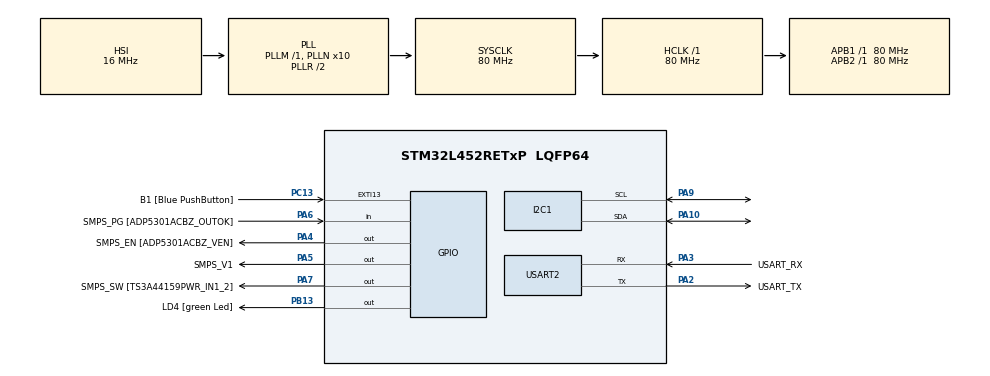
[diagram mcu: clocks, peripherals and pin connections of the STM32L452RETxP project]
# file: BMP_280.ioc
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I2C1.Timing=0x10909CEC
Mcu.Family=STM32L4
Mcu.Name=STM32L452RETxP
Mcu.Package=LQFP64
NVIC.PriorityGroup=NVIC_PRIORITYGROUP_4
PA10.Mode=I2C
PA10.Signal=I2C1_SDA
PA13\ (JTMS/SWDIO).GPIO_Label=TMS
PA13\ (JTMS/SWDIO).Mode=Serial_Wire
PA13\ (JTMS/SWDIO).Signal=SYS_JTMS-SWDIO
PA14\ (JTCK/SWCLK).GPIO_Label=TCK
PA14\ (JTCK/SWCLK).Mode=Serial_Wire
PA14\ (JTCK/SWCLK).Signal=SYS_JTCK-SWCLK
PA2.GPIO_Label=USART_TX
PA2.GPIO_Mode=GPIO_MODE_AF_PP
PA2.GPIO_PuPd=GPIO_NOPULL
PA2.GPIO_Speed=GPIO_SPEED_FREQ_VERY_HIGH
PA2.Mode=Asynchronous
PA2.Signal=USART2_TX
PA3.GPIO_Label=USART_RX
PA3.GPIO_Mode=GPIO_MODE_AF_PP
PA3.GPIO_PuPd=GPIO_NOPULL
PA3.GPIO_Speed=GPIO_SPEED_FREQ_VERY_HIGH
PA3.Mode=Asynchronous
PA3.Signal=USART2_RX
PA4.GPIO_Label=SMPS_EN [ADP5301ACBZ_VEN]
PA4.Signal=GPIO_Output
PA5.GPIO_Label=SMPS_V1
PA5.GPIO_ModeDefaultOutputPP=GPIO_MODE_OUTPUT_PP
PA5.GPIO_PuPd=GPIO_NOPULL
PA5.GPIO_Speed=GPIO_SPEED_FREQ_LOW
PA5.Signal=GPIO_Output
PA6.GPIO_Label=SMPS_PG [ADP5301ACBZ_OUTOK]
PA6.GPIO_PuPd=GPIO_PULLUP
PA6.Signal=GPIO_Input
PA7.GPIO_Label=SMPS_SW [TS3A44159PWR_IN1_2]
PA7.Signal=GPIO_Output
PA9.Mode=I2C
PA9.Signal=I2C1_SCL
PB13.GPIO_Label=LD4 [green Led]
PB13.Signal=GPIO_Output
PB3\ (JTDO/TRACESWO).GPIO_Label=SWO
PB3\ (JTDO/TRACESWO).Signal=SYS_JTDO-SWO
PC13.GPIO_Label=B1 [Blue PushButton]
PC13.GPIO_ModeDefaultEXTI=GPIO_MODE_IT_FALLING
PC13.GPIO_PuPd=GPIO_NOPULL
PC13.Signal=GPXTI13
PC14-OSC32_IN\ (PC14).Mode=LSE-External-Oscillator
PC14-OSC32_IN\ (PC14).Signal=RCC_OSC32_IN
PC15-OSC32_OUT\ (PC15).Mode=LSE-External-Oscillator
PC15-OSC32_OUT\ (PC15).Signal=RCC_OSC32_OUT
PH0-OSC_IN\ (PH0).GPIO_Label=MCO
PH0-OSC_IN\ (PH0).Mode=HSE-External-Clock-Source
PH0-OSC_IN\ (PH0).Signal=RCC_OSC_IN
PH1-OSC_OUT\ (PH1).Signal=RCC_OSC_OUT
ProjectManager.HeapSize=0x200
ProjectManager.StackSize=0x400
ProjectManager.TargetToolchain=STM32CubeIDE
RCC.ADCFreq_Value=64000000
RCC.AHBFreq_Value=80000000
RCC.APB1Freq_Value=80000000
RCC.APB1TimFreq_Value=80000000
RCC.APB2Freq_Value=80000000
RCC.APB2TimFreq_Value=80000000
RCC.CortexFreq_Value=80000000
RCC.HCLKFreq_Value=80000000
RCC.HSE_VALUE=8000000
RCC.HSI48_VALUE=48000000
RCC.HSI_VALUE=16000000
RCC.MSI_VALUE=4000000
RCC.PLLN=10
RCC.PLLSourceVirtual=RCC_PLLSOURCE_HSI
RCC.PREFETCH_ENABLE=1
RCC.SYSCLKFreq_VALUE=80000000
RCC.SYSCLKSource=RCC_SYSCLKSOURCE_PLLCLK
RCC.USBFreq_Value=64000000
RCC.VCOOutputFreq_Value=160000000
USART2.VirtualMode-Asynchronous=VM_ASYNC
board=NUCLEO-L452RE-P

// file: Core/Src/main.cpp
/* USER CODE BEGIN Header */
/**
 ******************************************************************************
 * @file           : main.c
 * @brief          : Main program body
 ******************************************************************************
 * @attention
 *
 * Copyright (c) 2023 STMicroelectronics.
 * All rights reserved.
 *
 * This software is licensed under terms that can be found in the LICENSE file
 * in the root directory of this software component.
 * If no LICENSE file comes with this software, it is provided AS-IS.
 *
 ******************************************************************************
 */
/* USER CODE END Header */
#include "main.h"

/* USER CODE BEGIN Includes */
#include "bmp280.h"
#include <stdio.h>
#include <string.h>
/* USER CODE END Includes */

I2C_HandleTypeDef hi2c1;

UART_HandleTypeDef huart2;

void SystemClock_Config(void);
static void MX_GPIO_Init(void);
static void MX_USART2_UART_Init(void);
static void MX_I2C1_Init(void);

int main(void) {

	/* MCU Configuration--------------------------------------------------------*/

	/* Reset of all peripherals, Initializes the Flash interface and the Systick. */
	HAL_Init();

	/* Configure the system clock */
	SystemClock_Config();

	/* Initialize all configured peripherals */
	MX_GPIO_Init();
	MX_USART2_UART_Init();
	MX_I2C1_Init();

	BMP_280 bmp(&hi2c1, (0x77 << 1));

	/* USER CODE BEGIN 2 */
	int aa = bmp.isInitialized;
	(void) aa;
	float temp;
	char terminal[200];
	float press;
	float alt;
//bmp.test_register();
	/* USER CODE END 2 */
	/* Infinite loop */
	while (1) {

		/* USER CODE BEGIN 3 */
		temp = bmp.getTemperature();
		press = bmp.readPressure();
		alt = bmp.readAltitude(1017);
		sprintf(terminal,"Temp=%.2f\nPress=%.2f\nAlt=%.2f\n",temp,press,alt);
		HAL_UART_Transmit(&huart2,(uint8_t*) terminal, strlen(terminal), 1000);
		HAL_Delay(1000);
	}
	/* USER CODE END 3 */
}

void SystemClock_Config(void) {
	RCC_OscInitTypeDef RCC_OscInitStruct = { 0 };
	RCC_ClkInitTypeDef RCC_ClkInitStruct = { 0 };

	/** Configure the main internal regulator output voltage
	 */
	if (HAL_PWREx_ControlVoltageScaling(PWR_REGULATOR_VOLTAGE_SCALE1)
			!= HAL_OK) {
		Error_Handler();
	}

	/** Initializes the RCC Oscillators according to the specified parameters
	 * in the RCC_OscInitTypeDef structure.
	 */
	RCC_OscInitStruct.OscillatorType = RCC_OSCILLATORTYPE_HSI;
	RCC_OscInitStruct.HSIState = RCC_HSI_ON;
	RCC_OscInitStruct.HSICalibrationValue = RCC_HSICALIBRATION_DEFAULT;
	RCC_OscInitStruct.PLL.PLLState = RCC_PLL_ON;
	RCC_OscInitStruct.PLL.PLLSource = RCC_PLLSOURCE_HSI;
	RCC_OscInitStruct.PLL.PLLM = 1;
	RCC_OscInitStruct.PLL.PLLN = 10;
	RCC_OscInitStruct.PLL.PLLP = RCC_PLLP_DIV7;
	RCC_OscInitStruct.PLL.PLLQ = RCC_PLLQ_DIV2;
	RCC_OscInitStruct.PLL.PLLR = RCC_PLLR_DIV2;
	if (HAL_RCC_OscConfig(&RCC_OscInitStruct) != HAL_OK) {
		Error_Handler();
	}

	/** Initializes the CPU, AHB and APB buses clocks
	 */
	RCC_ClkInitStruct.ClockType = RCC_CLOCKTYPE_HCLK | RCC_CLOCKTYPE_SYSCLK
			| RCC_CLOCKTYPE_PCLK1 | RCC_CLOCKTYPE_PCLK2;
	RCC_ClkInitStruct.SYSCLKSource = RCC_SYSCLKSOURCE_PLLCLK;
	RCC_ClkInitStruct.AHBCLKDivider = RCC_SYSCLK_DIV1;
	RCC_ClkInitStruct.APB1CLKDivider = RCC_HCLK_DIV1;
	RCC_ClkInitStruct.APB2CLKDivider = RCC_HCLK_DIV1;

	if (HAL_RCC_ClockConfig(&RCC_ClkInitStruct, FLASH_LATENCY_4) != HAL_OK) {
		Error_Handler();
	}
}

static void MX_I2C1_Init(void) {

	hi2c1.Instance = I2C1;
	hi2c1.Init.Timing = 0x10909CEC;
	hi2c1.Init.OwnAddress1 = 0;
	hi2c1.Init.AddressingMode = I2C_ADDRESSINGMODE_7BIT;
	hi2c1.Init.DualAddressMode = I2C_DUALADDRESS_DISABLE;
	hi2c1.Init.OwnAddress2 = 0;
	hi2c1.Init.OwnAddress2Masks = I2C_OA2_NOMASK;
	hi2c1.Init.GeneralCallMode = I2C_GENERALCALL_DISABLE;
	hi2c1.Init.NoStretchMode = I2C_NOSTRETCH_DISABLE;
	if (HAL_I2C_Init(&hi2c1) != HAL_OK) {
		Error_Handler();
	}

	/** Configure Analogue filter
	 */
	if (HAL_I2CEx_ConfigAnalogFilter(&hi2c1, I2C_ANALOGFILTER_ENABLE)
			!= HAL_OK) {
		Error_Handler();
	}

	/** Configure Digital filter
	 */
	if (HAL_I2CEx_ConfigDigitalFilter(&hi2c1, 0) != HAL_OK) {
		Error_Handler();
	}

}

static void MX_USART2_UART_Init(void) {

	huart2.Instance = USART2;
	huart2.Init.BaudRate = 115200;
	huart2.Init.WordLength = UART_WORDLENGTH_8B;
	huart2.Init.StopBits = UART_STOPBITS_1;
	huart2.Init.Parity = UART_PARITY_NONE;
	huart2.Init.Mode = UART_MODE_TX_RX;
	huart2.Init.HwFlowCtl = UART_HWCONTROL_NONE;
	huart2.Init.OverSampling = UART_OVERSAMPLING_16;
	huart2.Init.OneBitSampling = UART_ONE_BIT_SAMPLE_DISABLE;
	huart2.AdvancedInit.AdvFeatureInit = UART_ADVFEATURE_NO_INIT;
	if (HAL_UART_Init(&huart2) != HAL_OK) {
		Error_Handler();
	}

}

static void MX_GPIO_Init(void) {
	GPIO_InitTypeDef GPIO_InitStruct = { 0 };

	/* GPIO Ports Clock Enable */
	__HAL_RCC_GPIOC_CLK_ENABLE();
	__HAL_RCC_GPIOH_CLK_ENABLE();
	__HAL_RCC_GPIOA_CLK_ENABLE();
	__HAL_RCC_GPIOB_CLK_ENABLE();

	/*Configure GPIO pin Output Level */
	HAL_GPIO_WritePin(GPIOA, SMPS_EN_Pin | SMPS_V1_Pin | SMPS_SW_Pin,
			GPIO_PIN_RESET);

	/*Configure GPIO pin Output Level */
	HAL_GPIO_WritePin(LD4_GPIO_Port, LD4_Pin, GPIO_PIN_RESET);

	/*Configure GPIO pin : B1_Pin */
	GPIO_InitStruct.Pin = B1_Pin;
	GPIO_InitStruct.Mode = GPIO_MODE_IT_FALLING;
	GPIO_InitStruct.Pull = GPIO_NOPULL;
	HAL_GPIO_Init(B1_GPIO_Port, &GPIO_InitStruct);

	/*Configure GPIO pins : SMPS_EN_Pin SMPS_V1_Pin SMPS_SW_Pin */
	GPIO_InitStruct.Pin = SMPS_EN_Pin | SMPS_V1_Pin | SMPS_SW_Pin;
	GPIO_InitStruct.Mode = GPIO_MODE_OUTPUT_PP;
	GPIO_InitStruct.Pull = GPIO_NOPULL;
	GPIO_InitStruct.Speed = GPIO_SPEED_FREQ_LOW;
	HAL_GPIO_Init(GPIOA, &GPIO_InitStruct);

	/*Configure GPIO pin : SMPS_PG_Pin */
	GPIO_InitStruct.Pin = SMPS_PG_Pin;
	GPIO_InitStruct.Mode = GPIO_MODE_INPUT;
	GPIO_InitStruct.Pull = GPIO_PULLUP;
	HAL_GPIO_Init(SMPS_PG_GPIO_Port, &GPIO_InitStruct);

	/*Configure GPIO pin : LD4_Pin */
	GPIO_InitStruct.Pin = LD4_Pin;
	GPIO_InitStruct.Mode = GPIO_MODE_OUTPUT_PP;
	GPIO_InitStruct.Pull = GPIO_NOPULL;
	GPIO_InitStruct.Speed = GPIO_SPEED_FREQ_LOW;
	HAL_GPIO_Init(LD4_GPIO_Port, &GPIO_InitStruct);

}

void Error_Handler(void) {
	__disable_irq();
	while (1) {
	}
}
